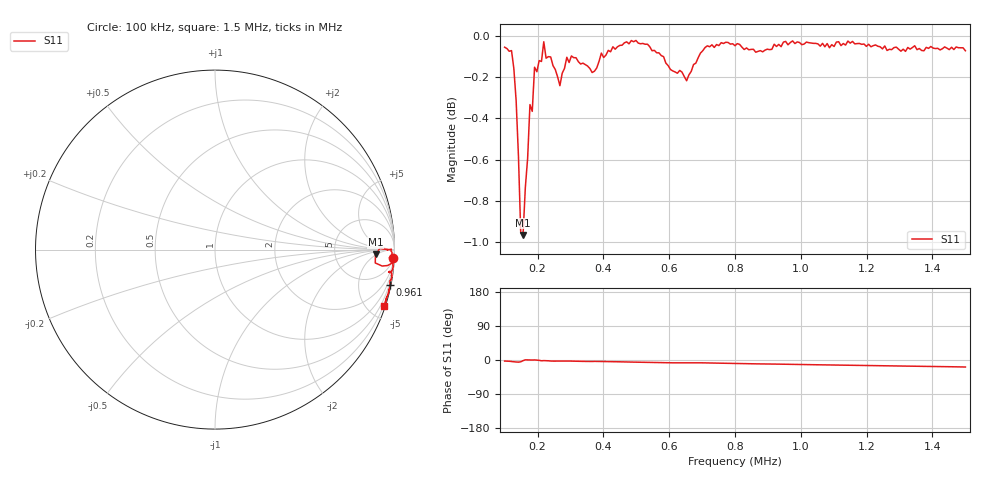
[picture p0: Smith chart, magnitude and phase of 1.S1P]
!Agilent Technologies,E5071C,MY46100305,A.07.02
!Date: Fri Jan 01 01:31:14 1988
!Data & Calibration Information:
!Freq	S11:SOLT1(ON)
# Hz S MA R 50
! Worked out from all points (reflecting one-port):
!   201 points, 100 kHz to 1.5 MHz, reference 50 ohm
!   lowest |S11| = -1.0 dB at 156 kHz (marker M1), VSWR 18.00, Z = 837 - j229 ohm
!   phase of S11 starts at -3 deg and turns -16 deg over the sweep
!   S11 on the Smith chart (normalised r, x): 100 kHz: 5, -41; 961 kHz: 0, -10; 1.5 MHz: 0.16, -6.13
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100000  0.9938 -2.8
121000  0.992 -4.0
135000  0.9647 -5.3
142000  0.9354 -5.6
149000  0.8958 -4.8
156000  0.8947 -1.7
163000  0.9189 0.4
177000  0.9624 0.0
184000  0.9588 -0.1
191000  0.9828 0.1
212000  0.986 -2.0
219000  0.9969 -1.6
247000  0.9837 -2.9
268000  0.9727 -2.6
275000  0.9795 -2.6
289000  0.9883 -2.8
366000  0.9799 -3.9
387000  0.9861 -3.6
450000  0.9949 -4.8
555000  0.9921 -6.9
625000  0.9795 -7.5
674000  0.9842 -7.2
800000  0.9947 -9.4
961000  0.9952 -11.3
975000  0.9974 -11.5
1150000  0.9961 -13.9
1325000  0.9937 -16.2
1500000  0.9919 -18.5
